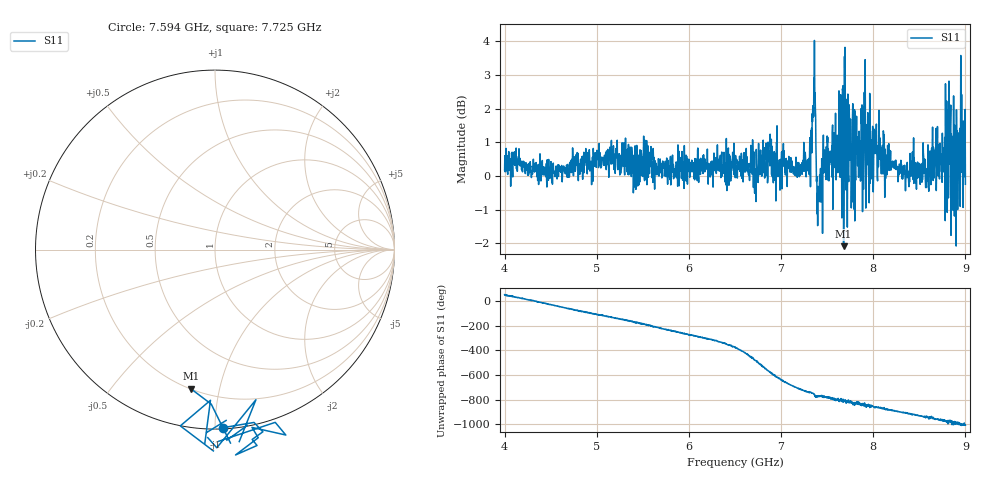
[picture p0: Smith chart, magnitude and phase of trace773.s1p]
! Created with skrf 1.8.0 (http://scikit-rf.org).
# Hz S RI R 50.0
!freq ReS11 ImS11
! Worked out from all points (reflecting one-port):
!   1601 points, 4 GHz to 9 GHz, reference 50 ohm
!   lowest |S11| = -2.1 dB at 7.678 GHz (marker M1), VSWR 8.39, Z = 10.1 - j41.1 ohm
!   phase of S11 starts at 51 deg and turns -1056 deg over the sweep
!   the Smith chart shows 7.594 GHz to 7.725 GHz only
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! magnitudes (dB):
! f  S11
! 4 GHz  0.2
! 4.625 GHz  -0.2
! 5.25 GHz  0.0
! 5.875 GHz  0.3
! 6.5 GHz  0.4
! 7.125 GHz  0.3
! 7.294 GHz  0.2
! 7.35 GHz  2.0
! 7.412 GHz  -0.7
! 7.481 GHz  0.1
! 7.588 GHz  0.8
! 7.638 GHz  1.5
! 7.65 GHz  1.3
! 7.656 GHz  0.9
! 7.678 GHz  -2.1
! 7.688 GHz  3.6
! 7.703 GHz  -0.4
! 7.75 GHz  0.7
! 7.784 GHz  -0.8
! 7.891 GHz  0.2
! 7.941 GHz  1.9
! 8.05 GHz  0.9
! 8.375 GHz  0.2
! 8.588 GHz  -0.1
! 8.816 GHz  -0.6
! 8.875 GHz  0.2
! 8.972 GHz  0.4
! 9 GHz  -0.2
